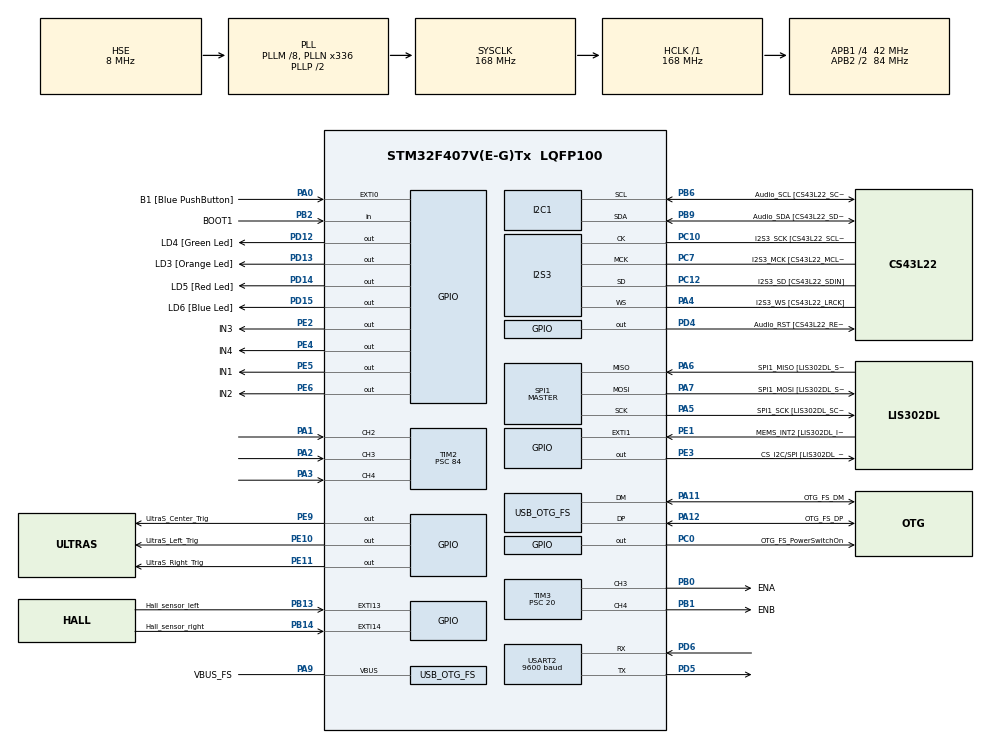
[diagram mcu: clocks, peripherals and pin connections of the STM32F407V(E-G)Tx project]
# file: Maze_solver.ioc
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I2S3.AudioFreq-Half_Duplex_Master=I2S_AUDIOFREQ_96K
I2S3.ErrorAudioFreq=-2.34 %
I2S3.ErrorAudioFreq-Half_Duplex_Master=0.8 %
I2S3.FullDuplexMode=I2S_FULLDUPLEXMODE_DISABLE
I2S3.Instance=SPI$Index
I2S3.RealAudioFreq=93.75 KHz
I2S3.RealAudioFreq-Half_Duplex_Master=96.774 KHz
I2S3.VirtualMode=I2S_MODE_MASTER
Mcu.Family=STM32F4
Mcu.Name=STM32F407V(E-G)Tx
Mcu.Package=LQFP100
NVIC.EXTI15_10_IRQn=true\:0\:0\:false\:false\:true\:true\:true\:true
NVIC.OTG_FS_IRQn=true\:0\:0\:false\:false\:true\:true\:true\:true
NVIC.PriorityGroup=NVIC_PRIORITYGROUP_0
NVIC.TIM2_IRQn=true\:0\:0\:false\:false\:true\:true\:true\:true
NVIC.USART2_IRQn=true\:0\:0\:false\:false\:true\:true\:true\:true
PA0-WKUP.GPIO_Label=B1 [Blue PushButton]
PA0-WKUP.GPIO_ModeDefaultEXTI=GPIO_MODE_EVT_RISING
PA0-WKUP.GPIO_PuPd=GPIO_NOPULL
PA0-WKUP.Signal=GPXTI0
PA1.Signal=S_TIM2_CH2
PA10.GPIO_Label=OTG_FS_ID
PA10.GPIO_Mode=GPIO_MODE_AF_PP
PA10.GPIO_PuPd=GPIO_NOPULL
PA10.GPIO_Speed=GPIO_SPEED_FREQ_LOW
PA10.Signal=USB_OTG_FS_ID
PA11.GPIO_Label=OTG_FS_DM
PA11.GPIO_Mode=GPIO_MODE_AF_PP
PA11.GPIO_PuPd=GPIO_NOPULL
PA11.GPIO_Speed=GPIO_SPEED_FREQ_LOW
PA11.Mode=Host_Only
PA11.Signal=USB_OTG_FS_DM
PA12.GPIO_Label=OTG_FS_DP
PA12.GPIO_Mode=GPIO_MODE_AF_PP
PA12.GPIO_PuPd=GPIO_NOPULL
PA12.GPIO_Speed=GPIO_SPEED_FREQ_LOW
PA12.Mode=Host_Only
PA12.Signal=USB_OTG_FS_DP
PA13.GPIO_Label=SWDIO
PA13.Mode=Serial_Wire
PA13.Signal=SYS_JTMS-SWDIO
PA14.GPIO_Label=SWCLK
PA14.Mode=Serial_Wire
PA14.Signal=SYS_JTCK-SWCLK
PA2.Signal=S_TIM2_CH3
PA3.Signal=S_TIM2_CH4
PA4.GPIO_Label=I2S3_WS [CS43L22_LRCK]
PA4.GPIO_Mode=GPIO_MODE_AF_PP
PA4.GPIO_PuPd=GPIO_NOPULL
PA4.GPIO_Speed=GPIO_SPEED_FREQ_LOW
PA4.Mode=Half_Duplex_Master
PA4.Signal=I2S3_WS
PA5.GPIO_Label=SPI1_SCK [LIS302DL_SCL/SPC]
PA5.GPIO_Mode=GPIO_MODE_AF_PP
PA5.GPIO_PuPd=GPIO_NOPULL
PA5.GPIO_Speed=GPIO_SPEED_FREQ_LOW
PA5.Mode=Full_Duplex_Master
PA5.Signal=SPI1_SCK
PA6.GPIO_Label=SPI1_MISO [LIS302DL_SDO]
PA6.GPIO_Mode=GPIO_MODE_AF_PP
PA6.GPIO_PuPd=GPIO_NOPULL
PA6.GPIO_Speed=GPIO_SPEED_FREQ_LOW
PA6.Mode=Full_Duplex_Master
PA6.Signal=SPI1_MISO
PA7.GPIO_Label=SPI1_MOSI [LIS302DL_SDA/SDI/SDO]
PA7.GPIO_Mode=GPIO_MODE_AF_PP
PA7.GPIO_PuPd=GPIO_NOPULL
PA7.GPIO_Speed=GPIO_SPEED_FREQ_LOW
PA7.Mode=Full_Duplex_Master
PA7.Signal=SPI1_MOSI
PA9.GPIO_Label=VBUS_FS
PA9.GPIO_Mode=GPIO_MODE_INPUT
PA9.GPIO_PuPd=GPIO_NOPULL
PA9.Mode=Activate_VBUS
PA9.Signal=USB_OTG_FS_VBUS
PB0.GPIO_Label=ENA
PB0.Signal=S_TIM3_CH3
PB1.GPIO_Label=ENB
PB1.Signal=S_TIM3_CH4
PB10.GPIO_Label=CLK_IN [MP45DT02_CLK]
PB10.GPIO_Mode=GPIO_MODE_AF_PP
PB10.GPIO_PuPd=GPIO_NOPULL
PB10.GPIO_Speed=GPIO_SPEED_FREQ_LOW
PB10.Signal=I2S2_CK
PB13.GPIO_Label=Hall_sensor_left
PB13.GPIO_PuPd=GPIO_PULLUP
PB13.Signal=GPXTI13
PB14.GPIO_Label=Hall_sensor_right
PB14.GPIO_PuPd=GPIO_PULLUP
PB14.Signal=GPXTI14
PB2.GPIO_Label=BOOT1
PB2.GPIO_Mode=GPIO_MODE_INPUT
PB2.GPIO_PuPd=GPIO_NOPULL
PB2.Signal=GPIO_Input
PB3.GPIO_Label=SWO
PB3.Signal=SYS_JTDO-SWO
PB6.GPIO_Label=Audio_SCL [CS43L22_SCL]
PB6.GPIO_Mode=GPIO_MODE_AF_OD
PB6.GPIO_Pu=GPIO_PULLUP
PB6.GPIO_PuPd=GPIO_NOPULL
PB6.GPIO_Speed=GPIO_SPEED_FREQ_LOW
PB6.Mode=I2C
PB6.Signal=I2C1_SCL
PB9.GPIO_Label=Audio_SDA [CS43L22_SDA]
PB9.GPIO_Mode=GPIO_MODE_AF_OD
PB9.GPIO_Pu=GPIO_PULLUP
PB9.GPIO_PuPd=GPIO_NOPULL
PB9.GPIO_Speed=GPIO_SPEED_FREQ_LOW
PB9.Mode=I2C
PB9.Signal=I2C1_SDA
PC0.GPIO_Label=OTG_FS_PowerSwitchOn
PC0.GPIO_PuPd=GPIO_NOPULL
PC0.GPIO_Speed=GPIO_SPEED_FREQ_LOW
PC0.PinState=GPIO_PIN_SET
PC0.Signal=GPIO_Output
PC10.GPIO_Label=I2S3_SCK [CS43L22_SCLK]
PC10.GPIO_Mode=GPIO_MODE_AF_PP
PC10.GPIO_PuPd=GPIO_NOPULL
PC10.GPIO_Speed=GPIO_SPEED_FREQ_LOW
PC10.Mode=Half_Duplex_Master
PC10.Signal=I2S3_CK
PC12.GPIO_Label=I2S3_SD [CS43L22_SDIN]
PC12.GPIO_Mode=GPIO_MODE_AF_PP
PC12.GPIO_PuPd=GPIO_NOPULL
PC12.GPIO_Speed=GPIO_SPEED_FREQ_LOW
PC12.Mode=Half_Duplex_Master
PC12.Signal=I2S3_SD
PC14-OSC32_IN.GPIO_Label=PC14-OSC32_IN
PC14-OSC32_IN.Mode=LSE-External-Oscillator
PC14-OSC32_IN.Signal=RCC_OSC32_IN
PC15-OSC32_OUT.GPIO_Label=PC15-OSC32_OUT
PC15-OSC32_OUT.Mode=LSE-External-Oscillator
PC15-OSC32_OUT.Signal=RCC_OSC32_OUT
PC3.GPIO_Label=PDM_OUT [MP45DT02_DOUT]
PC3.GPIO_Mode=GPIO_MODE_AF_PP
PC3.GPIO_PuPd=GPIO_NOPULL
PC3.GPIO_Speed=GPIO_SPEED_FREQ_LOW
PC3.Signal=I2S2_SD
PC7.GPIO_Label=I2S3_MCK [CS43L22_MCLK]
PC7.GPIO_Mode=GPIO_MODE_AF_PP
PC7.GPIO_PuPd=GPIO_NOPULL
PC7.GPIO_Speed=GPIO_SPEED_FREQ_LOW
PC7.Mode=Master_Clock_Activated
PC7.Signal=I2S3_MCK
PD12.GPIO_Label=LD4 [Green Led]
PD12.GPIO_PuPd=GPIO_NOPULL
PD12.GPIO_Speed=GPIO_SPEED_FREQ_LOW
PD12.Signal=GPIO_Output
PD13.GPIO_Label=LD3 [Orange Led]
PD13.GPIO_PuPd=GPIO_NOPULL
PD13.GPIO_Speed=GPIO_SPEED_FREQ_LOW
PD13.Signal=GPIO_Output
PD14.GPIO_Label=LD5 [Red Led]
PD14.GPIO_PuPd=GPIO_NOPULL
PD14.GPIO_Speed=GPIO_SPEED_FREQ_LOW
PD14.Signal=GPIO_Output
PD15.GPIO_Label=LD6 [Blue Led]
PD15.GPIO_PuPd=GPIO_NOPULL
PD15.GPIO_Speed=GPIO_SPEED_FREQ_LOW
PD15.Signal=GPIO_Output
PD4.GPIO_Label=Audio_RST [CS43L22_RESET]
PD4.GPIO_PuPd=GPIO_NOPULL
PD4.GPIO_Speed=GPIO_SPEED_FREQ_LOW
PD4.Signal=GPIO_Output
PD5.Mode=Asynchronous
PD5.Signal=USART2_TX
PD6.Mode=Asynchronous
PD6.Signal=USART2_RX
PE1.GPIO_Label=MEMS_INT2 [LIS302DL_INT2]
PE1.GPIO_ModeDefaultEXTI=GPIO_MODE_EVT_RISING
PE1.GPIO_PuPd=GPIO_NOPULL
PE1.Signal=GPXTI1
PE10.GPIO_Label=UltraS_Left_Trig
PE10.Signal=GPIO_Output
PE11.GPIO_Label=UltraS_Right_Trig
PE11.Signal=GPIO_Output
PE2.GPIO_Label=IN3
PE2.Signal=GPIO_Output
PE3.GPIO_Label=CS_I2C/SPI [LIS302DL_CS_I2C/SPI]
PE3.GPIO_PuPd=GPIO_NOPULL
PE3.GPIO_Speed=GPIO_SPEED_FREQ_LOW
PE3.Signal=GPIO_Output
PE4.GPIO_Label=IN4
PE4.Signal=GPIO_Output
PE5.GPIO_Label=IN1
PE5.Signal=GPIO_Output
PE6.GPIO_Label=IN2
PE6.Signal=GPIO_Output
PE9.GPIO_Label=UltraS_Center_Trig
PE9.Signal=GPIO_Output
PH0-OSC_IN.GPIO_Label=PH0-OSC_IN
PH0-OSC_IN.Mode=HSE-External-Oscillator
PH0-OSC_IN.Signal=RCC_OSC_IN
PH1-OSC_OUT.GPIO_Label=PH1-OSC_OUT
PH1-OSC_OUT.Mode=HSE-External-Oscillator
PH1-OSC_OUT.Signal=RCC_OSC_OUT
ProjectManager.HeapSize=0x200
ProjectManager.StackSize=0x400
ProjectManager.TargetToolchain=CMake
RCC.48MHZClocksFreq_Value=48000000
RCC.AHBFreq_Value=168000000
RCC.APB1CLKDivider=RCC_HCLK_DIV4
RCC.APB1Freq_Value=42000000
RCC.APB1TimFreq_Value=84000000
RCC.APB2CLKDivider=RCC_HCLK_DIV2
RCC.APB2Freq_Value=84000000
RCC.APB2TimFreq_Value=168000000
RCC.CortexFreq_Value=168000000
RCC.HCLKFreq_Value=168000000
RCC.HSE_VALUE=8000000
RCC.HSI_VALUE=16000000
RCC.PLLM=8
RCC.PLLN=336
RCC.PLLQ=7
RCC.SYSCLKFreq_VALUE=168000000
RCC.SYSCLKSource=RCC_SYSCLKSOURCE_PLLCLK
RCC.VCOOutputFreq_Value=336000000
SH.S_TIM2_CH2.0=TIM2_CH2,Input_Capture2_from_TI2
SH.S_TIM2_CH3.0=TIM2_CH3,Input_Capture3_from_TI3
SH.S_TIM2_CH4.0=TIM2_CH4,Input_Capture4_from_TI4
SH.S_TIM3_CH3.0=TIM3_CH3,PWM Generation3 CH3
SH.S_TIM3_CH4.0=TIM3_CH4,PWM Generation4 CH4
SPI1.BaudRatePrescaler-Full_Duplex_Master=SPI_BAUDRATEPRESCALER_2
SPI1.CalculateBaudRate-Full_Duplex_Master=42.0 MBits/s
SPI1.Direction=SPI_DIRECTION_2LINES
SPI1.Mode=SPI_MODE_MASTER
SPI1.Mode-Full_Duplex_Master=SPI_MODE_MASTER
SPI1.VirtualType=VM_MASTER
TIM2.Channel-Input_Capture2_from_TI2=TIM_CHANNEL_2
TIM2.Channel-Input_Capture3_from_TI3=TIM_CHANNEL_3
TIM2.Channel-Input_Capture4_from_TI4=TIM_CHANNEL_4
TIM2.Prescaler=84
TIM3.Channel-PWM\ Generation3\ CH3=TIM_CHANNEL_3
TIM3.Channel-PWM\ Generation4\ CH4=TIM_CHANNEL_4
TIM3.Period=49
TIM3.Prescaler=20
USART2.BaudRate=9600
USART2.VirtualMode=VM_ASYNC
USB_HOST.BSP.number=1
USB_HOST.USBH_HandleTypeDef-CDC_FS=hUsbHostFS
USB_HOST.VirtualModeFS=Cdc
USB_HOST0.BSP.STBoard=false
USB_HOST0.BSP.api=Unknown
USB_HOST0.BSP.instance=PC0
USB_HOST0.BSP.ip=GPIO
USB_HOST0.BSP.mode=Output
USB_HOST0.BSP.name=Drive_VBUS_FS
USB_HOST0.BSP.solution=PC0
USB_OTG_FS.VirtualMode=Host_Only
USB_OTG_FS.phy_itface=HCD_PHY_EMBEDDED
VP_TIM2_VS_ClockSourceINT.Mode=Internal
VP_USB_HOST_VS_USB_HOST_CDC_FS.Mode=CDC_FS
board=STM32F407G-DISC1

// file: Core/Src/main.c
/* USER CODE BEGIN Header */
/**
  ******************************************************************************
  * @file           : main.c
  * @brief          : Main program body
  ******************************************************************************
  * @attention
  *
  * Copyright (c) 2026 STMicroelectronics.
  * All rights reserved.
  *
  * This software is licensed under terms that can be found in the LICENSE file
  * in the root directory of this software component.
  * If no LICENSE file comes with this software, it is provided AS-IS.
  *
  ******************************************************************************
  */
/* USER CODE END Header */
#include "main.h"
#include "usb_host.h"

/* USER CODE BEGIN Includes */
#include <stdio.h>
#include <string.h>
// #include "YS-27.h"
#include "HCSR04.h"
#include "pwm_motors.h"
#include "mapping.h"
#include "maze.h"
/* USER CODE END Includes */

/* USER CODE BEGIN PD */
#define START_X 15
#define START_Y 15

typedef enum {
  ROBOT_IDLE = 0,
  ROBOT_WAITING_MODE,
  ROBOT_MAP_MODE,
  ROBOT_TRAVERSE_MODE
} robot_state_t;
/* USER CODE END PD */

I2C_HandleTypeDef hi2c1;

I2S_HandleTypeDef hi2s3;

SPI_HandleTypeDef hspi1;

TIM_HandleTypeDef htim2;
TIM_HandleTypeDef htim3;

UART_HandleTypeDef huart2;

/* USER CODE BEGIN PV */
#define WHEEL_MAGNETS        4U          // magnets per wheel
#define WHEEL_DIAMETER_MM    65.0f       // adjust to your actual wheel diameter
#define WHEEL_CIRC_CM        (3.14159f * WHEEL_DIAMETER_MM / 10.0f)
#define SPEED_INTERVAL_MS    500U        // compute speed every 200 ms

volatile uint32_t hall_count_left  = 0;
volatile uint32_t hall_count_right = 0;
static uint32_t last_speed_tick = 0;

static uint8_t  coord_buf[16];
static uint8_t  coord_idx  = 0;
static uint8_t  awaiting_coords = 0;
uint8_t map_started = 0;

uint8_t rxData;
volatile uint8_t stopSignal = 1;
volatile robot_state_t robotState = ROBOT_IDLE;

// for post-mapping traversal
static MazePos_t  trav_path[MAZE_ROWS * MAZE_COLS];
static uint8_t    trav_path_len  = 0;
static uint8_t    trav_step      = 0;       // next step index to execute
static uint8_t    trav_ready     = 0;       // path is loaded and ready to run
static heading_t  trav_heading   = HEADING_N; // robot's current heading during traverse
/* USER CODE END PV */

void SystemClock_Config(void);
static void MX_GPIO_Init(void);
static void MX_I2C1_Init(void);
static void MX_I2S3_Init(void);
static void MX_SPI1_Init(void);
static void MX_TIM3_Init(void);
static void MX_TIM2_Init(void);
static void MX_USART2_UART_Init(void);
void MX_USB_HOST_Process(void);

/* USER CODE BEGIN PFP */
void Hall_sensor_counter(uint16_t GPIO_Pin);
void Speed_Update_Telemetry(void);
/* USER CODE END PFP */

/* USER CODE BEGIN 0 */
void HAL_TIM_IC_CaptureCallback(TIM_HandleTypeDef *htim)
{
  HCSR04_ProcessEcho(htim);
}

void HAL_GPIO_EXTI_Callback(uint16_t GPIO_Pin)
{
  Hall_sensor_counter(GPIO_Pin);
}
/* USER CODE END 0 */

int main(void)
{

  /* MCU Configuration--------------------------------------------------------*/

  /* Reset of all peripherals, Initializes the Flash interface and the Systick. */
  HAL_Init();

  /* Configure the system clock */
  SystemClock_Config();

  /* Initialize all configured peripherals */
  MX_GPIO_Init();
  MX_I2C1_Init();
  MX_I2S3_Init();
  MX_SPI1_Init();
  MX_TIM3_Init();
  MX_USB_HOST_Init();
  MX_TIM2_Init();
  MX_USART2_UART_Init();
  /* USER CODE BEGIN 2 */
  // for hall telemetry
  last_speed_tick = HAL_GetTick(); //in user code begin 2

  // for ultrasound
  HAL_UART_Receive_IT(&huart2, &rxData, 1);
  HAL_TIM_IC_Start_IT(&htim2, TIM_CHANNEL_2);
  HAL_TIM_IC_Start_IT(&htim2, TIM_CHANNEL_3);
  HAL_TIM_IC_Start_IT(&htim2, TIM_CHANNEL_4);
  DWT_Init();

  Motor_Init(&htim3);
  Maze_Init();
  HAL_UART_Receive_IT(&huart2, &rxData, 1);
  Motor_ChangeDirection(currentMotorDir); // in the beginning, forward
  /* USER CODE END 2 */

  /* Infinite loop */
  /* USER CODE BEGIN WHILE */
  // Rotate_90_degrees(RIGHT_DIR);
  // Rotate_180_degrees();
  while (1)
  {
    Ultrasonic_Update();      /* always keep sensors cycling — non-blocking */
    MX_USB_HOST_Process();

    switch (robotState)
    {
      case ROBOT_IDLE:
        Motor_SetSpeed(BOTH_MOTORS, 0);
        /* LD6 on, others off — already in your UART callback */
        break;

      case ROBOT_WAITING_MODE:
        Motor_SetSpeed(BOTH_MOTORS, 0);

        static uint32_t last_print = 0;
        if ((HAL_GetTick() - last_print) >= 500U)
        {
          char dbg[64];
          int dlen = snprintf(dbg, sizeof(dbg), "Distances: C:%d L:%d R:%d\r\n",
              (int)HCSR04_GetDistance(CENTER),
              (int)HCSR04_GetDistance(LEFT),
              (int)HCSR04_GetDistance(RIGHT));
          HAL_UART_Transmit(&huart2, (uint8_t*)dbg, dlen, HAL_MAX_DELAY);
          last_print = HAL_GetTick();
        }
        break;

      case ROBOT_MAP_MODE:
      {
        if (!map_started) {
          Mapping_Init(START_X, START_Y, HEADING_N);
          map_started = 1;
          HAL_UART_Transmit(&huart2, (uint8_t*)"INIT\r\n", 6, HAL_MAX_DELAY);
        }

          Speed_Update_Telemetry();

        if (Mapping_IsDone()) {
          HAL_UART_Transmit(&huart2, (uint8_t*)"DONE\r\n", 6, HAL_MAX_DELAY);
          robotState  = ROBOT_WAITING_MODE;
          map_started = 0;
          Maze_Print(&huart2);
        } else {
          Mapping_Step();
        }
        break;
      }

      case ROBOT_TRAVERSE_MODE:
        {
          // Path not yet loaded — wait for coords (handled by UART callback)
          if (!trav_ready) {
            Motor_SetSpeed(BOTH_MOTORS, 0);
            break;
          }

          // All steps done
          if (trav_step >= trav_path_len - 1) {
            HAL_UART_Transmit(&huart2, (uint8_t*)"ARRIVED\r\n", 9, HAL_MAX_DELAY);
            trav_ready   = 0;
            trav_step    = 0;
            robotState   = ROBOT_WAITING_MODE;
            break;
          }

          // Compute required heading from current cell to next cell
          MazePos_t cur  = trav_path[trav_step];
          MazePos_t next = trav_path[trav_step + 1];

          heading_t required;
          if      (next.row == cur.row - 1) required = HEADING_N;
          else if (next.row == cur.row + 1) required = HEADING_S;
          else if (next.col == cur.col + 1) required = HEADING_E;
          else                              required = HEADING_W;

          // Rotate if needed, then move one cell
          Mapping_RotateTo(required, &trav_heading);
          Mapping_MoveOneCell();   // reuse the same function from mapping.c

          trav_step++;
          break;
        }
    }

    /* USER CODE END WHILE */
    MX_USB_HOST_Process();

  }
}

void SystemClock_Config(void)
{
  RCC_OscInitTypeDef RCC_OscInitStruct = {0};
  RCC_ClkInitTypeDef RCC_ClkInitStruct = {0};

  /** Configure the main internal regulator output voltage
  */
  __HAL_RCC_PWR_CLK_ENABLE();
  __HAL_PWR_VOLTAGESCALING_CONFIG(PWR_REGULATOR_VOLTAGE_SCALE1);

  /** Initializes the RCC Oscillators according to the specified parameters
  * in the RCC_OscInitTypeDef structure.
  */
  RCC_OscInitStruct.OscillatorType = RCC_OSCILLATORTYPE_HSE;
  RCC_OscInitStruct.HSEState = RCC_HSE_ON;
  RCC_OscInitStruct.PLL.PLLState = RCC_PLL_ON;
  RCC_OscInitStruct.PLL.PLLSource = RCC_PLLSOURCE_HSE;
  RCC_OscInitStruct.PLL.PLLM = 8;
  RCC_OscInitStruct.PLL.PLLN = 336;
  RCC_OscInitStruct.PLL.PLLP = RCC_PLLP_DIV2;
  RCC_OscInitStruct.PLL.PLLQ = 7;
  if (HAL_RCC_OscConfig(&RCC_OscInitStruct) != HAL_OK)
  {
    Error_Handler();
  }

  /** Initializes the CPU, AHB and APB buses clocks
  */
  RCC_ClkInitStruct.ClockType = RCC_CLOCKTYPE_HCLK|RCC_CLOCKTYPE_SYSCLK
                              |RCC_CLOCKTYPE_PCLK1|RCC_CLOCKTYPE_PCLK2;
  RCC_ClkInitStruct.SYSCLKSource = RCC_SYSCLKSOURCE_PLLCLK;
  RCC_ClkInitStruct.AHBCLKDivider = RCC_SYSCLK_DIV1;
  RCC_ClkInitStruct.APB1CLKDivider = RCC_HCLK_DIV4;
  RCC_ClkInitStruct.APB2CLKDivider = RCC_HCLK_DIV2;

  if (HAL_RCC_ClockConfig(&RCC_ClkInitStruct, FLASH_LATENCY_5) != HAL_OK)
  {
    Error_Handler();
  }
}

static void MX_I2C1_Init(void)
{

  hi2c1.Instance = I2C1;
  hi2c1.Init.ClockSpeed = 100000;
  hi2c1.Init.DutyCycle = I2C_DUTYCYCLE_2;
  hi2c1.Init.OwnAddress1 = 0;
  hi2c1.Init.AddressingMode = I2C_ADDRESSINGMODE_7BIT;
  hi2c1.Init.DualAddressMode = I2C_DUALADDRESS_DISABLE;
  hi2c1.Init.OwnAddress2 = 0;
  hi2c1.Init.GeneralCallMode = I2C_GENERALCALL_DISABLE;
  hi2c1.Init.NoStretchMode = I2C_NOSTRETCH_DISABLE;
  if (HAL_I2C_Init(&hi2c1) != HAL_OK)
  {
    Error_Handler();
  }

}

static void MX_I2S3_Init(void)
{

  hi2s3.Instance = SPI3;
  hi2s3.Init.Mode = I2S_MODE_MASTER_TX;
  hi2s3.Init.Standard = I2S_STANDARD_PHILIPS;
  hi2s3.Init.DataFormat = I2S_DATAFORMAT_16B;
  hi2s3.Init.MCLKOutput = I2S_MCLKOUTPUT_ENABLE;
  hi2s3.Init.AudioFreq = I2S_AUDIOFREQ_96K;
  hi2s3.Init.CPOL = I2S_CPOL_LOW;
  hi2s3.Init.ClockSource = I2S_CLOCK_PLL;
  hi2s3.Init.FullDuplexMode = I2S_FULLDUPLEXMODE_DISABLE;
  if (HAL_I2S_Init(&hi2s3) != HAL_OK)
  {
    Error_Handler();
  }

}

static void MX_SPI1_Init(void)
{

  /* SPI1 parameter configuration*/
  hspi1.Instance = SPI1;
  hspi1.Init.Mode = SPI_MODE_MASTER;
  hspi1.Init.Direction = SPI_DIRECTION_2LINES;
  hspi1.Init.DataSize = SPI_DATASIZE_8BIT;
  hspi1.Init.CLKPolarity = SPI_POLARITY_LOW;
  hspi1.Init.CLKPhase = SPI_PHASE_1EDGE;
  hspi1.Init.NSS = SPI_NSS_SOFT;
  hspi1.Init.BaudRatePrescaler = SPI_BAUDRATEPRESCALER_2;
  hspi1.Init.FirstBit = SPI_FIRSTBIT_MSB;
  hspi1.Init.TIMode = SPI_TIMODE_DISABLE;
  hspi1.Init.CRCCalculation = SPI_CRCCALCULATION_DISABLE;
  hspi1.Init.CRCPolynomial = 10;
  if (HAL_SPI_Init(&hspi1) != HAL_OK)
  {
    Error_Handler();
  }

}

static void MX_TIM2_Init(void)
{

  TIM_ClockConfigTypeDef sClockSourceConfig = {0};
  TIM_MasterConfigTypeDef sMasterConfig = {0};
  TIM_IC_InitTypeDef sConfigIC = {0};

  htim2.Instance = TIM2;
  htim2.Init.Prescaler = 84;
  htim2.Init.CounterMode = TIM_COUNTERMODE_UP;
  htim2.Init.Period = 4294967295;
  htim2.Init.ClockDivision = TIM_CLOCKDIVISION_DIV1;
  htim2.Init.AutoReloadPreload = TIM_AUTORELOAD_PRELOAD_DISABLE;
  if (HAL_TIM_Base_Init(&htim2) != HAL_OK)
  {
    Error_Handler();
  }
  sClockSourceConfig.ClockSource = TIM_CLOCKSOURCE_INTERNAL;
  if (HAL_TIM_ConfigClockSource(&htim2, &sClockSourceConfig) != HAL_OK)
  {
    Error_Handler();
  }
  if (HAL_TIM_IC_Init(&htim2) != HAL_OK)
  {
    Error_Handler();
  }
  sMasterConfig.MasterOutputTrigger = TIM_TRGO_RESET;
  sMasterConfig.MasterSlaveMode = TIM_MASTERSLAVEMODE_DISABLE;
  if (HAL_TIMEx_MasterConfigSynchronization(&htim2, &sMasterConfig) != HAL_OK)
  {
    Error_Handler();
  }
  sConfigIC.ICPolarity = TIM_INPUTCHANNELPOLARITY_RISING;
  sConfigIC.ICSelection = TIM_ICSELECTION_DIRECTTI;
  sConfigIC.ICPrescaler = TIM_ICPSC_DIV1;
  sConfigIC.ICFilter = 0;
  if (HAL_TIM_IC_ConfigChannel(&htim2, &sConfigIC, TIM_CHANNEL_2) != HAL_OK)
  {
    Error_Handler();
  }
  if (HAL_TIM_IC_ConfigChannel(&htim2, &sConfigIC, TIM_CHANNEL_3) != HAL_OK)
  {
    Error_Handler();
  }
  if (HAL_TIM_IC_ConfigChannel(&htim2, &sConfigIC, TIM_CHANNEL_4) != HAL_OK)
  {
    Error_Handler();
  }

}

static void MX_TIM3_Init(void)
{

  TIM_MasterConfigTypeDef sMasterConfig = {0};
  TIM_OC_InitTypeDef sConfigOC = {0};

  htim3.Instance = TIM3;
  htim3.Init.Prescaler = 20;
  htim3.Init.CounterMode = TIM_COUNTERMODE_UP;
  htim3.Init.Period = 49;
  htim3.Init.ClockDivision = TIM_CLOCKDIVISION_DIV1;
  htim3.Init.AutoReloadPreload = TIM_AUTORELOAD_PRELOAD_DISABLE;
  if (HAL_TIM_PWM_Init(&htim3) != HAL_OK)
  {
    Error_Handler();
  }
  sMasterConfig.MasterOutputTrigger = TIM_TRGO_RESET;
  sMasterConfig.MasterSlaveMode = TIM_MASTERSLAVEMODE_DISABLE;
  if (HAL_TIMEx_MasterConfigSynchronization(&htim3, &sMasterConfig) != HAL_OK)
  {
    Error_Handler();
  }
  sConfigOC.OCMode = TIM_OCMODE_PWM1;
  sConfigOC.Pulse = 0;
  sConfigOC.OCPolarity = TIM_OCPOLARITY_HIGH;
  sConfigOC.OCFastMode = TIM_OCFAST_DISABLE;
  if (HAL_TIM_PWM_ConfigChannel(&htim3, &sConfigOC, TIM_CHANNEL_3) != HAL_OK)
  {
    Error_Handler();
  }
  if (HAL_TIM_PWM_ConfigChannel(&htim3, &sConfigOC, TIM_CHANNEL_4) != HAL_OK)
  {
    Error_Handler();
  }
  HAL_TIM_MspPostInit(&htim3);

}

static void MX_USART2_UART_Init(void)
{

  huart2.Instance = USART2;
  huart2.Init.BaudRate = 9600;
  huart2.Init.WordLength = UART_WORDLENGTH_8B;
  huart2.Init.StopBits = UART_STOPBITS_1;
  huart2.Init.Parity = UART_PARITY_NONE;
  huart2.Init.Mode = UART_MODE_TX_RX;
  huart2.Init.HwFlowCtl = UART_HWCONTROL_NONE;
  huart2.Init.OverSampling = UART_OVERSAMPLING_16;
  if (HAL_UART_Init(&huart2) != HAL_OK)
  {
    Error_Handler();
  }

}

static void MX_GPIO_Init(void)
{
  GPIO_InitTypeDef GPIO_InitStruct = {0};

  /* GPIO Ports Clock Enable */
  __HAL_RCC_GPIOE_CLK_ENABLE();
  __HAL_RCC_GPIOC_CLK_ENABLE();
  __HAL_RCC_GPIOH_CLK_ENABLE();
  __HAL_RCC_GPIOA_CLK_ENABLE();
  __HAL_RCC_GPIOB_CLK_ENABLE();
  __HAL_RCC_GPIOD_CLK_ENABLE();

  /*Configure GPIO pin Output Level */
  HAL_GPIO_WritePin(GPIOE, IN3_Pin|CS_I2C_SPI_Pin|IN4_Pin|IN1_Pin
                          |IN2_Pin|UltraS_Center_Trig_Pin|UltraS_Left_Trig_Pin|UltraS_Right_Trig_Pin, GPIO_PIN_RESET);

  /*Configure GPIO pin Output Level */
  HAL_GPIO_WritePin(OTG_FS_PowerSwitchOn_GPIO_Port, OTG_FS_PowerSwitchOn_Pin, GPIO_PIN_SET);

  /*Configure GPIO pin Output Level */
  HAL_GPIO_WritePin(GPIOD, LD4_Pin|LD3_Pin|LD5_Pin|LD6_Pin
                          |Audio_RST_Pin, GPIO_PIN_RESET);

  /*Configure GPIO pins : IN3_Pin CS_I2C_SPI_Pin IN4_Pin IN1_Pin
                           IN2_Pin UltraS_Center_Trig_Pin UltraS_Left_Trig_Pin UltraS_Right_Trig_Pin */
  GPIO_InitStruct.Pin = IN3_Pin|CS_I2C_SPI_Pin|IN4_Pin|IN1_Pin
                          |IN2_Pin|UltraS_Center_Trig_Pin|UltraS_Left_Trig_Pin|UltraS_Right_Trig_Pin;
  GPIO_InitStruct.Mode = GPIO_MODE_OUTPUT_PP;
  GPIO_InitStruct.Pull = GPIO_NOPULL;
  GPIO_InitStruct.Speed = GPIO_SPEED_FREQ_LOW;
  HAL_GPIO_Init(GPIOE, &GPIO_InitStruct);

  /*Configure GPIO pin : OTG_FS_PowerSwitchOn_Pin */
  GPIO_InitStruct.Pin = OTG_FS_PowerSwitchOn_Pin;
  GPIO_InitStruct.Mode = GPIO_MODE_OUTPUT_PP;
  GPIO_InitStruct.Pull = GPIO_NOPULL;
  GPIO_InitStruct.Speed = GPIO_SPEED_FREQ_LOW;
  HAL_GPIO_Init(OTG_FS_PowerSwitchOn_GPIO_Port, &GPIO_InitStruct);

  /*Configure GPIO pin : PDM_OUT_Pin */
  GPIO_InitStruct.Pin = PDM_OUT_Pin;
  GPIO_InitStruct.Mode = GPIO_MODE_AF_PP;
  GPIO_InitStruct.Pull = GPIO_NOPULL;
  GPIO_InitStruct.Speed = GPIO_SPEED_FREQ_LOW;
  GPIO_InitStruct.Alternate = GPIO_AF5_SPI2;
  HAL_GPIO_Init(PDM_OUT_GPIO_Port, &GPIO_InitStruct);

  /*Configure GPIO pin : B1_Pin */
  GPIO_InitStruct.Pin = B1_Pin;
  GPIO_InitStruct.Mode = GPIO_MODE_EVT_RISING;
  GPIO_InitStruct.Pull = GPIO_NOPULL;
  HAL_GPIO_Init(B1_GPIO_Port, &GPIO_InitStruct);

  /*Configure GPIO pin : BOOT1_Pin */
  GPIO_InitStruct.Pin = BOOT1_Pin;
  GPIO_InitStruct.Mode = GPIO_MODE_INPUT;
  GPIO_InitStruct.Pull = GPIO_NOPULL;
  HAL_GPIO_Init(BOOT1_GPIO_Port, &GPIO_InitStruct);

  /*Configure GPIO pin : CLK_IN_Pin */
  GPIO_InitStruct.Pin = CLK_IN_Pin;
  GPIO_InitStruct.Mode = GPIO_MODE_AF_PP;
  GPIO_InitStruct.Pull = GPIO_NOPULL;
  GPIO_InitStruct.Speed = GPIO_SPEED_FREQ_LOW;
  GPIO_InitStruct.Alternate = GPIO_AF5_SPI2;
  HAL_GPIO_Init(CLK_IN_GPIO_Port, &GPIO_InitStruct);

  /*Configure GPIO pins : Hall_sensor_left_Pin Hall_sensor_right_Pin */
  GPIO_InitStruct.Pin = Hall_sensor_left_Pin|Hall_sensor_right_Pin;
  GPIO_InitStruct.Mode = GPIO_MODE_IT_RISING;
  GPIO_InitStruct.Pull = GPIO_PULLUP;
  HAL_GPIO_Init(GPIOB, &GPIO_InitStruct);

  /*Configure GPIO pins : LD4_Pin LD3_Pin LD5_Pin LD6_Pin
                           Audio_RST_Pin */
  GPIO_InitStruct.Pin = LD4_Pin|LD3_Pin|LD5_Pin|LD6_Pin
                          |Audio_RST_Pin;
  GPIO_InitStruct.Mode = GPIO_MODE_OUTPUT_PP;
  GPIO_InitStruct.Pull = GPIO_NOPULL;
  GPIO_InitStruct.Speed = GPIO_SPEED_FREQ_LOW;
  HAL_GPIO_Init(GPIOD, &GPIO_InitStruct);

  /*Configure GPIO pin : MEMS_INT2_Pin */
  GPIO_InitStruct.Pin = MEMS_INT2_Pin;
  GPIO_InitStruct.Mode = GPIO_MODE_EVT_RISING;
  GPIO_InitStruct.Pull = GPIO_NOPULL;
  HAL_GPIO_Init(MEMS_INT2_GPIO_Port, &GPIO_InitStruct);

  /* EXTI interrupt init*/
  HAL_NVIC_SetPriority(EXTI15_10_IRQn, 0, 0);
  HAL_NVIC_EnableIRQ(EXTI15_10_IRQn);

}

/* USER CODE BEGIN 4 */
// Called from HAL_GPIO_EXTI_Callback — already wired up in your code
void Hall_sensor_counter(uint16_t GPIO_Pin)
{
  if (GPIO_Pin == Hall_sensor_left_Pin)       // PB13
    hall_count_left++;
  else if (GPIO_Pin == Hall_sensor_right_Pin) // PB14
    hall_count_right++;
}

// Call this from the main loop, same as Ultrasonic_Update()
void Speed_Update_Telemetry(void)
{
  uint32_t now = HAL_GetTick();
  if ((now - last_speed_tick) < SPEED_INTERVAL_MS)
    return;

  // Snapshot and reset counters atomically
  __disable_irq();
  uint32_t pulses_left  = hall_count_left;
  uint32_t pulses_right = hall_count_right;
  hall_count_left  = 0;
  hall_count_right = 0;
  __enable_irq();

  float dt_s = (float)(now - last_speed_tick) / 1000.0f;
  last_speed_tick = now;

  // rotations = pulses / magnets_per_revolution
  // speed (cm/s) = rotations * circumference / dt
  float speed_left  = ((float)pulses_left  / WHEEL_MAGNETS) * WHEEL_CIRC_CM / dt_s;
  float speed_right = ((float)pulses_right / WHEEL_MAGNETS) * WHEEL_CIRC_CM / dt_s;
  float speed_avg   = (speed_left + speed_right) / 2.0f;

  char buf[80];
  int len = snprintf(buf, sizeof(buf),
      "SPEED: L:%d R:%d A:%d cm\r\n",
      (int)speed_left, (int)speed_right, (int)speed_avg);
  if (len > 0 && len < (int)sizeof(buf))
    HAL_UART_Transmit(&huart2, (uint8_t*)buf, len, HAL_MAX_DELAY);
}
//before HAL_UART-RxCpltCallback()

static uint8_t parse_coords(char *buf, uint8_t *sr, uint8_t *sc, uint8_t *er, uint8_t *ec)
{
  uint8_t *out[4] = { sr, sc, er, ec };
  uint8_t  idx    = 0;

  while (*buf && idx < 4)
  {
    // skip separators (comma, space, tab)
    while (*buf == ',' || *buf == ' ' || *buf == '\t') buf++;
    if (!*buf) break;

    // must start with a digit
    if (*buf < '0' || *buf > '9') return 0;

    uint16_t val = 0;
    while (*buf >= '0' && *buf <= '9')
    {
      val = val * 10 + (*buf - '0');
      buf++;
    }
    if (val > 255) return 0;
    *out[idx++] = (uint8_t)val;
  }

  return (idx == 4) ? 1 : 0;
}

void HAL_UART_RxCpltCallback(UART_HandleTypeDef *huart)
{
  if (huart->Instance != USART2) return;

  if (awaiting_coords)
  {
    if (rxData == '\n' || rxData == '\r')
    {
      if (coord_idx == 0) {
        // empty line (the \n after a \r), just re-arm and skip
        HAL_UART_Receive_IT(&huart2, &rxData, 1);
        return;
      }
      coord_buf[coord_idx] = '\0';
      uint8_t sr, sc, er, ec;

      // Temporary debug — remove once working
      char dbg[32];
      int dlen = snprintf(dbg, sizeof(dbg), "GOT:[%s]\r\n", coord_buf);
      HAL_UART_Transmit(&huart2, (uint8_t*)dbg, dlen, HAL_MAX_DELAY);
      if (parse_coords((char*)coord_buf, &sr, &sc, &er, &ec))
      {
        MazePos_t start = {sr, sc};
        MazePos_t end   = {er, ec};
        static MazePos_t path[MAZE_ROWS * MAZE_COLS];
        uint8_t path_len = 0;
        uint8_t found = Maze_FindPath(start, end, trav_path, &trav_path_len);
        HAL_UART_Transmit(&huart2, (uint8_t*)"IN_HERE\r\n", 9, HAL_MAX_DELAY);
        if (found) {
          HAL_UART_Transmit(&huart2, (uint8_t*)"PATH_FOUND\r\n", 9, HAL_MAX_DELAY);
          trav_step   = 0;
          trav_ready  = 1;
          // Transmit the path map for visual confirmation
          Maze_TransmitWithPath(&huart2, trav_path, trav_path_len);
        } else {
          HAL_UART_Transmit(&huart2, (uint8_t*)"NO_PATH\r\n", 9, HAL_MAX_DELAY);
          robotState = ROBOT_WAITING_MODE;
        }
      }
      else
      {
        HAL_UART_Transmit(&huart2, (uint8_t*)"BAD_FORMAT\r\n", 12, HAL_MAX_DELAY);
      }
      awaiting_coords = 0;
      coord_idx = 0;
      memset(coord_buf, 0, sizeof(coord_buf));
    }
    else if (rxData != '\r' && coord_idx < sizeof(coord_buf) - 1)
    {
      coord_buf[coord_idx++] = rxData;
    }
  }

  else
  {
    if (rxData == 'Y' || rxData == 'y')
    {
      if (robotState == ROBOT_IDLE) {  // add this guard
        stopSignal = 0;
        robotState = ROBOT_WAITING_MODE;
      }
    }
    else if (rxData == 'N' || rxData == 'n')
    {
      stopSignal = 1;
      robotState = ROBOT_IDLE;
      map_started = 0;
      Motor_Stop();
      Maze_Print(&huart2);
    }
    else if (rxData == 'M' || rxData == 'm')
    {
      if (robotState == ROBOT_WAITING_MODE)
        robotState = ROBOT_MAP_MODE;
    }
    else if (rxData == 'T' || rxData == 't')
    {
      if (robotState == ROBOT_WAITING_MODE)
      {
        robotState = ROBOT_TRAVERSE_MODE;
        awaiting_coords = 1;
        coord_idx = 0;
        memset(coord_buf, 0, sizeof(coord_buf));
        HAL_UART_Transmit(&huart2, (uint8_t*)"COORDS?\r\n", 9, HAL_MAX_DELAY);
      }
    }

    switch (robotState)
    {
      case ROBOT_IDLE:
        HAL_GPIO_WritePin(LD3_GPIO_Port, LD3_Pin, GPIO_PIN_RESET);
        HAL_GPIO_WritePin(LD4_GPIO_Port, LD4_Pin, GPIO_PIN_RESET);
        HAL_GPIO_WritePin(LD5_GPIO_Port, LD5_Pin, GPIO_PIN_RESET);
        HAL_GPIO_WritePin(LD6_GPIO_Port, LD6_Pin, GPIO_PIN_SET);
        break;
      case ROBOT_WAITING_MODE:
        HAL_GPIO_WritePin(LD3_GPIO_Port, LD3_Pin, GPIO_PIN_RESET);
        HAL_GPIO_WritePin(LD4_GPIO_Port, LD4_Pin, GPIO_PIN_SET);
        HAL_GPIO_WritePin(LD5_GPIO_Port, LD5_Pin, GPIO_PIN_RESET);
        HAL_GPIO_WritePin(LD6_GPIO_Port, LD6_Pin, GPIO_PIN_RESET);
        break;
      case ROBOT_MAP_MODE:
        HAL_GPIO_WritePin(LD3_GPIO_Port, LD3_Pin, GPIO_PIN_SET);
        HAL_GPIO_WritePin(LD4_GPIO_Port, LD4_Pin, GPIO_PIN_RESET);
        HAL_GPIO_WritePin(LD5_GPIO_Port, LD5_Pin, GPIO_PIN_RESET);
        HAL_GPIO_WritePin(LD6_GPIO_Port, LD6_Pin, GPIO_PIN_RESET);
        break;
      case ROBOT_TRAVERSE_MODE:
        HAL_GPIO_WritePin(LD3_GPIO_Port, LD3_Pin, GPIO_PIN_RESET);
        HAL_GPIO_WritePin(LD4_GPIO_Port, LD4_Pin, GPIO_PIN_RESET);
        HAL_GPIO_WritePin(LD5_GPIO_Port, LD5_Pin, GPIO_PIN_SET);
        HAL_GPIO_WritePin(LD6_GPIO_Port, LD6_Pin, GPIO_PIN_RESET);
        break;
    }
  }

  HAL_UART_Receive_IT(&huart2, &rxData, 1);
}

/* USER CODE END 4 */

void Error_Handler(void)
{
  __disable_irq();
  while (1)
  {
  }
}
